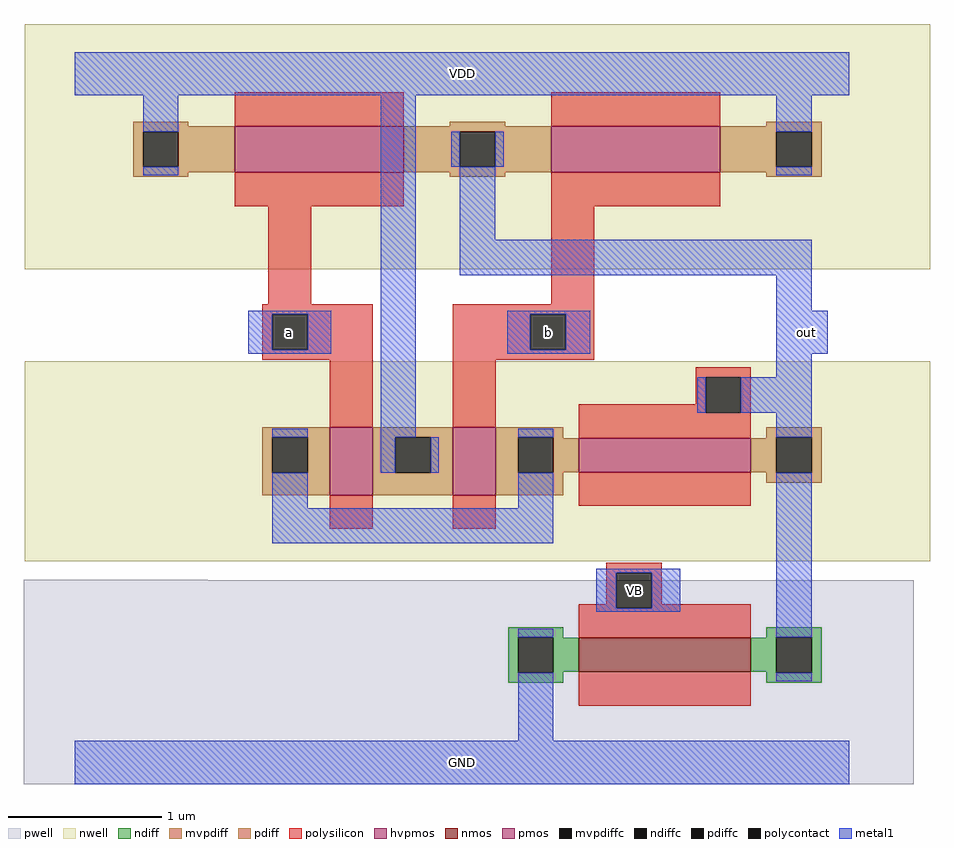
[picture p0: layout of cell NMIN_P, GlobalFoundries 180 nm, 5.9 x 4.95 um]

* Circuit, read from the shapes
.subckt NMIN_P b VB a out VDD GND
XM1 out VB GND VSUBS nfet_03v3 w=0.22u l=1.12u
XM2 out a VDD n1 pfet_06v0 w=0.3u l=1.1u
XM3 VDD a n2 n3 pfet_03v3 w=0.44u l=0.28u
XM4 n2 b VDD n3 pfet_03v3 w=0.44u l=0.28u
XM5 VDD b out n1 pfet_06v0 w=0.3u l=1.1u
XM6 out out n2 n3 pfet_03v3 w=0.22u l=1.12u
.ends

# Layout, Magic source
magic
tech gf180mcuC
magscale 1 10
<< nwell >>
rect 2583 1997 3761 2316
rect 2583 1617 3761 1877
<< pwell >>
rect 2582 1592 2821 1593
rect 2582 1327 3740 1592
<< nmos >>
rect 3304 1473 3528 1517
<< pmos >>
rect 2980 1703 3036 1791
rect 3140 1703 3196 1791
rect 3304 1733 3528 1777
<< hvpmos >>
rect 2856 2123 3076 2183
rect 3268 2123 3488 2183
<< ndiff >>
rect 3212 1518 3284 1531
rect 3212 1472 3225 1518
rect 3271 1517 3284 1518
rect 3548 1518 3620 1531
rect 3548 1517 3561 1518
rect 3271 1473 3304 1517
rect 3528 1473 3561 1517
rect 3271 1472 3284 1473
rect 3212 1459 3284 1472
rect 3548 1472 3561 1473
rect 3607 1472 3620 1518
rect 3548 1459 3620 1472
<< pdiff >>
rect 2892 1778 2980 1791
rect 2892 1732 2905 1778
rect 2951 1732 2980 1778
rect 2892 1703 2980 1732
rect 3036 1778 3140 1791
rect 3036 1732 3065 1778
rect 3111 1732 3140 1778
rect 3036 1703 3140 1732
rect 3196 1778 3284 1791
rect 3196 1732 3225 1778
rect 3271 1777 3284 1778
rect 3548 1778 3620 1791
rect 3548 1777 3561 1778
rect 3271 1733 3304 1777
rect 3528 1733 3561 1777
rect 3271 1732 3284 1733
rect 3196 1703 3284 1732
rect 3548 1732 3561 1733
rect 3607 1732 3620 1778
rect 3548 1719 3620 1732
<< mvpdiff >>
rect 2724 2183 2796 2189
rect 3136 2183 3208 2189
rect 3548 2183 3620 2189
rect 2724 2176 2856 2183
rect 2724 2130 2737 2176
rect 2783 2130 2856 2176
rect 2724 2123 2856 2130
rect 3076 2176 3268 2183
rect 3076 2130 3149 2176
rect 3195 2130 3268 2176
rect 3076 2123 3268 2130
rect 3488 2176 3620 2183
rect 3488 2130 3561 2176
rect 3607 2130 3620 2176
rect 3488 2123 3620 2130
rect 2724 2117 2796 2123
rect 3136 2117 3208 2123
rect 3548 2117 3620 2123
<< ndiffc >>
rect 3225 1472 3271 1518
rect 3561 1472 3607 1518
<< pdiffc >>
rect 2905 1732 2951 1778
rect 3065 1732 3111 1778
rect 3225 1732 3271 1778
rect 3561 1732 3607 1778
<< mvpdiffc >>
rect 2737 2130 2783 2176
rect 3149 2130 3195 2176
rect 3561 2130 3607 2176
<< polysilicon >>
rect 2856 2183 3076 2227
rect 3268 2183 3488 2227
rect 2856 2079 3076 2123
rect 3268 2079 3488 2123
rect 2900 1951 2956 2079
rect 3268 1951 3324 2079
rect 2892 1938 3036 1951
rect 2892 1892 2905 1938
rect 2951 1892 3036 1938
rect 2892 1879 3036 1892
rect 2980 1791 3036 1879
rect 3140 1938 3324 1951
rect 3140 1892 3241 1938
rect 3287 1892 3324 1938
rect 3140 1879 3324 1892
rect 3140 1791 3196 1879
rect 3456 1856 3528 1869
rect 3456 1821 3469 1856
rect 3304 1810 3469 1821
rect 3515 1810 3528 1856
rect 3304 1777 3528 1810
rect 2980 1659 3036 1703
rect 3140 1659 3196 1703
rect 3304 1689 3528 1733
rect 3340 1602 3412 1615
rect 3340 1561 3353 1602
rect 3304 1556 3353 1561
rect 3399 1561 3412 1602
rect 3399 1556 3528 1561
rect 3304 1517 3528 1556
rect 3304 1429 3528 1473
<< polycontact >>
rect 2905 1892 2951 1938
rect 3241 1892 3287 1938
rect 3469 1810 3515 1856
rect 3353 1556 3399 1602
<< metal1 >>
rect 2648 2223 3656 2279
rect 2737 2176 2783 2223
rect 2737 2119 2783 2130
rect 2874 1938 2982 1943
rect 2874 1892 2905 1938
rect 2951 1892 2982 1938
rect 2874 1887 2982 1892
rect 2905 1778 2951 1789
rect 3046 1778 3092 2223
rect 3561 2176 3607 2223
rect 3138 2130 3149 2176
rect 3195 2130 3206 2176
rect 3149 2035 3195 2130
rect 3561 2119 3607 2130
rect 3149 1989 3607 2035
rect 3561 1943 3607 1989
rect 3211 1938 3319 1943
rect 3211 1892 3241 1938
rect 3287 1892 3319 1938
rect 3211 1887 3319 1892
rect 3561 1887 3628 1943
rect 3561 1856 3607 1887
rect 3458 1810 3469 1856
rect 3515 1810 3607 1856
rect 3225 1778 3271 1789
rect 3046 1732 3065 1778
rect 3111 1732 3122 1778
rect 2905 1686 2951 1732
rect 3225 1686 3271 1732
rect 2905 1640 3271 1686
rect 3561 1778 3607 1810
rect 3327 1602 3436 1607
rect 3327 1556 3353 1602
rect 3399 1556 3436 1602
rect 3327 1551 3436 1556
rect 3225 1518 3271 1529
rect 3225 1383 3271 1472
rect 3561 1518 3607 1732
rect 3561 1461 3607 1472
rect 2648 1327 3656 1383
<< labels >>
rlabel metal1 3236 1887 3292 1943 0 b
port 1 nsew
rlabel metal1 3348 1551 3404 1607 0 VB
port 3 nsew
rlabel metal1 2900 1887 2956 1943 0 a
port 4 nsew
rlabel metal1 3572 1887 3628 1943 0 out
port 5 nsew
rlabel metal1 2648 2223 3656 2279 0 VDD
port 6 nsew
rlabel metal1 2648 1327 3656 1383 0 GND
port 7 nsew
<< end >>
